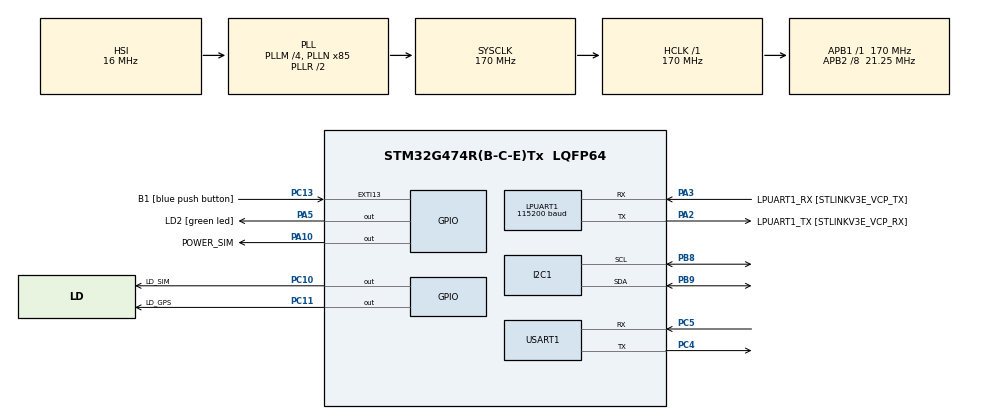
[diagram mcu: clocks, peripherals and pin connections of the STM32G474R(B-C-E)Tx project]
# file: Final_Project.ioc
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FREERTOS.Mutexes01=MutexSerialComSIM808,Dynamic,NULL;MutexDataPacket,Dynamic,NULL;MutexNetworkStatus,Dynamic,NULL
FREERTOS.Tasks01=defaultTask,24,128,StartDefaultTask,Default,NULL,Dynamic,NULL,NULL;TaskLowPwrMode,40,2048,FuncLowPwrMode,Default,NULL,Dynamic,NULL,NULL;TaskNwConnect,26,2048,FuncNwConnect,Default,NULL,Dynamic,NULL,NULL;TaskSensorData,24,4096,FuncSensorData,Default,NULL,Dynamic,NULL,NULL;TaskNwSendData,24,4096,FuncNwSendData,Default,NULL,Dynamic,NULL,NULL
FREERTOS.Timers01=SensorDataTimer,CallbackTimer,osTimerPeriodic,Default,NULL,Dynamic,NULL
FREERTOS.configENABLE_FPU=1
FREERTOS.configTOTAL_HEAP_SIZE=65536
FREERTOS.configUSE_NEWLIB_REENTRANT=1
I2C1.Timing=0x30A0A7FB
LPUART1.BaudRate=115200
LPUART1.WordLength=UART_WORDLENGTH_8B
Mcu.Family=STM32G4
Mcu.Name=STM32G474R(B-C-E)Tx
Mcu.Package=LQFP64
NVIC.EXTI15_10_IRQn=true\:5\:0\:false\:false\:true\:true\:true\:true
NVIC.PriorityGroup=NVIC_PRIORITYGROUP_4
NVIC.TIM6_DAC_IRQn=true\:15\:0\:false\:false\:true\:false\:false\:true
NVIC.TimeBase=TIM6_DAC_IRQn
NVIC.TimeBaseIP=TIM6
NVIC.USART1_IRQn=true\:5\:0\:false\:false\:true\:true\:true\:true
PA10.GPIO_Label=POWER_SIM
PA10.Signal=GPIO_Output
PA13.GPIO_Label=T_SWDIO
PA13.Mode=Serial_Wire
PA13.Signal=SYS_JTMS-SWDIO
PA14.GPIO_Label=T_SWCLK
PA14.Mode=Serial_Wire
PA14.Signal=SYS_JTCK-SWCLK
PA2.GPIO_Label=LPUART1_TX [STLINKV3E_VCP_RX]
PA2.Mode=Asynchronous
PA2.Signal=LPUART1_TX
PA3.GPIO_Label=LPUART1_RX [STLINKV3E_VCP_TX]
PA3.Mode=Asynchronous
PA3.Signal=LPUART1_RX
PA5.GPIO_Label=LD2 [green led]
PA5.Signal=GPIO_Output
PB3.GPIO_Label=T_SWO
PB3.Signal=SYS_JTDO-SWO
PB8-BOOT0.Mode=I2C
PB8-BOOT0.Signal=I2C1_SCL
PB9.Mode=I2C
PB9.Signal=I2C1_SDA
PC10.GPIO_Label=LD_SIM
PC10.Signal=GPIO_Output
PC11.GPIO_Label=LD_GPS
PC11.Signal=GPIO_Output
PC13.GPIO_Label=B1 [blue push button]
PC13.Signal=GPXTI13
PC14-OSC32_IN.Mode=LSE-External-Oscillator
PC14-OSC32_IN.Signal=RCC_OSC32_IN
PC15-OSC32_OUT.Mode=LSE-External-Oscillator
PC15-OSC32_OUT.Signal=RCC_OSC32_OUT
PC4.Mode=Asynchronous
PC4.Signal=USART1_TX
PC5.Mode=Asynchronous
PC5.Signal=USART1_RX
PF0-OSC_IN.Mode=HSE-External-Oscillator
PF0-OSC_IN.Signal=RCC_OSC_IN
PF1-OSC_OUT.Mode=HSE-External-Oscillator
PF1-OSC_OUT.Signal=RCC_OSC_OUT
ProjectManager.HeapSize=0x200
ProjectManager.StackSize=0x400
ProjectManager.TargetToolchain=STM32CubeIDE
RCC.ADC12Freq_Value=170000000
RCC.ADC345Freq_Value=170000000
RCC.AHBFreq_Value=170000000
RCC.APB1Freq_Value=170000000
RCC.APB1TimFreq_Value=170000000
RCC.APB2CLKDivider=RCC_HCLK_DIV8
RCC.APB2Freq_Value=21250000
RCC.APB2TimFreq_Value=42500000
RCC.CortexFreq_Value=170000000
RCC.EXTERNAL_CLOCK_VALUE=12288000
RCC.HCLKFreq_Value=170000000
RCC.HSE_VALUE=24000000
RCC.HSI48_VALUE=48000000
RCC.HSI_VALUE=16000000
RCC.PLLM=RCC_PLLM_DIV4
RCC.PLLN=85
RCC.RTCClockSelection=RCC_RTCCLKSOURCE_LSE
RCC.SYSCLKFreq_VALUE=170000000
RCC.SYSCLKSource=RCC_SYSCLKSOURCE_PLLCLK
RCC.USBFreq_Value=170000000
RCC.VCOOutputFreq_Value=340000000
USART1.VirtualMode-Asynchronous=VM_ASYNC
VP_FREERTOS_VS_CMSIS_V2.Mode=CMSIS_V2
VP_SYS_VS_DBSignals.Mode=DisableDeadBatterySignals
VP_SYS_VS_tim6.Mode=TIM6
board=NUCLEO-G474RE

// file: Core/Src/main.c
/* USER CODE BEGIN Header */
/**
  ******************************************************************************
  * @file           : main.c
  * @brief          : Main program body
  ******************************************************************************
  * @attention
  *
  * <h2><center>&copy; Copyright (c) 2021 STMicroelectronics.
  * All rights reserved.</center></h2>
  *
  * This software component is licensed by ST under BSD 3-Clause license,
  * the "License"; You may not use this file except in compliance with the
  * License. You may obtain a copy of the License at:
  *                        opensource.org/licenses/BSD-3-Clause
  *
  ******************************************************************************
  */
/* USER CODE END Header */
#include "main.h"
#include "cmsis_os.h"
#include "i2c.h"
#include "usart.h"
#include "gpio.h"

void SystemClock_Config(void);
void MX_FREERTOS_Init(void);

/* USER CODE BEGIN 0 */
int _write(int file, char *ptr, int len)
{
	if (HAL_UART_Transmit_IT(&hlpuart1, (uint8_t *)ptr, len) != HAL_OK )
	{
		Error_Handler();
	}
	return len;
}
/* USER CODE END 0 */

int main(void)
{

  /* MCU Configuration--------------------------------------------------------*/

  /* Reset of all peripherals, Initializes the Flash interface and the Systick. */
  HAL_Init();

  /* Configure the system clock */
  SystemClock_Config();

  /* Initialize all configured peripherals */
  MX_GPIO_Init();
  MX_LPUART1_UART_Init();
  MX_I2C1_Init();
  MX_USART1_UART_Init();
  /* USER CODE BEGIN 2 */
  //HAL_TIM_Base_Start_IT( &htim16 );
  /* USER CODE END 2 */

  /* Init scheduler */
  osKernelInitialize();  /* Call init function for freertos objects (in freertos.c) */
  MX_FREERTOS_Init();
  /* Start scheduler */
  osKernelStart();

  /* We should never get here as control is now taken by the scheduler */
  /* Infinite loop */
  while (1)
  {

  }
}

void SystemClock_Config(void)
{
  RCC_OscInitTypeDef RCC_OscInitStruct = {0};
  RCC_ClkInitTypeDef RCC_ClkInitStruct = {0};
  RCC_PeriphCLKInitTypeDef PeriphClkInit = {0};

  /** Configure the main internal regulator output voltage
  */
  HAL_PWREx_ControlVoltageScaling(PWR_REGULATOR_VOLTAGE_SCALE1_BOOST);
  /** Initializes the RCC Oscillators according to the specified parameters
  * in the RCC_OscInitTypeDef structure.
  */
  RCC_OscInitStruct.OscillatorType = RCC_OSCILLATORTYPE_HSI;
  RCC_OscInitStruct.HSIState = RCC_HSI_ON;
  RCC_OscInitStruct.HSICalibrationValue = RCC_HSICALIBRATION_DEFAULT;
  RCC_OscInitStruct.PLL.PLLState = RCC_PLL_ON;
  RCC_OscInitStruct.PLL.PLLSource = RCC_PLLSOURCE_HSI;
  RCC_OscInitStruct.PLL.PLLM = RCC_PLLM_DIV4;
  RCC_OscInitStruct.PLL.PLLN = 85;
  RCC_OscInitStruct.PLL.PLLP = RCC_PLLP_DIV2;
  RCC_OscInitStruct.PLL.PLLQ = RCC_PLLQ_DIV2;
  RCC_OscInitStruct.PLL.PLLR = RCC_PLLR_DIV2;
  if (HAL_RCC_OscConfig(&RCC_OscInitStruct) != HAL_OK)
  {
    Error_Handler();
  }
  /** Initializes the CPU, AHB and APB buses clocks
  */
  RCC_ClkInitStruct.ClockType = RCC_CLOCKTYPE_HCLK|RCC_CLOCKTYPE_SYSCLK
                              |RCC_CLOCKTYPE_PCLK1|RCC_CLOCKTYPE_PCLK2;
  RCC_ClkInitStruct.SYSCLKSource = RCC_SYSCLKSOURCE_PLLCLK;
  RCC_ClkInitStruct.AHBCLKDivider = RCC_SYSCLK_DIV1;
  RCC_ClkInitStruct.APB1CLKDivider = RCC_HCLK_DIV1;
  RCC_ClkInitStruct.APB2CLKDivider = RCC_HCLK_DIV8;

  if (HAL_RCC_ClockConfig(&RCC_ClkInitStruct, FLASH_LATENCY_4) != HAL_OK)
  {
    Error_Handler();
  }
  /** Initializes the peripherals clocks
  */
  PeriphClkInit.PeriphClockSelection = RCC_PERIPHCLK_USART1|RCC_PERIPHCLK_LPUART1
                              |RCC_PERIPHCLK_I2C1;
  PeriphClkInit.Usart1ClockSelection = RCC_USART1CLKSOURCE_PCLK2;
  PeriphClkInit.Lpuart1ClockSelection = RCC_LPUART1CLKSOURCE_PCLK1;
  PeriphClkInit.I2c1ClockSelection = RCC_I2C1CLKSOURCE_PCLK1;
  if (HAL_RCCEx_PeriphCLKConfig(&PeriphClkInit) != HAL_OK)
  {
    Error_Handler();
  }
}

void HAL_TIM_PeriodElapsedCallback(TIM_HandleTypeDef *htim)
{
  if (htim->Instance == TIM6) {
    HAL_IncTick();
  }
}

void Error_Handler(void)
{
  __disable_irq();
  while (1)
  {
  }
}

/************************ (C) COPYRIGHT STMicroelectronics *****END OF FILE****/

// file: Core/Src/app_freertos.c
/* USER CODE BEGIN Header */
/**
  ******************************************************************************
  * File Name          : app_freertos.c
  * Description        : Code for freertos applications
  ******************************************************************************
  * @attention
  *
  * <h2><center>&copy; Copyright (c) 2021 STMicroelectronics.
  * All rights reserved.</center></h2>
  *
  * This software component is licensed by ST under Ultimate Liberty license
  * SLA0044, the "License"; You may not use this file except in compliance with
  * the License. You may obtain a copy of the License at:
  *                             www.st.com/SLA0044
  *
  ******************************************************************************
  */
/* USER CODE END Header */

#include "FreeRTOS.h"
#include "task.h"
#include "main.h"
#include "cmsis_os.h"

/* USER CODE BEGIN Includes */
#include <stdio.h>
#include <string.h>

#include "usart.h"
#include "i2c.h"

#include "global.h"
#include "sim808.h"
#include "mpu6050.h"
/* USER CODE END Includes */

/* USER CODE BEGIN Variables */

/* Global variables */
/*
 * uiGVLowPowerFlag = 1 -> Low-power OFF
 * uiGVLowPowerFlag = 2 -> Low-power ON
 */
uint8_t uiGVLowPowerFlag = 2;
uint8_t uiGVNetworkStatus = 0;
struct sensorData xGVDataPacket;

/* USER CODE END Variables */
/* Definitions for defaultTask */
osThreadId_t defaultTaskHandle;
const osThreadAttr_t defaultTask_attributes = {
  .name = "defaultTask",
  .priority = (osPriority_t) osPriorityNormal,
  .stack_size = 128 * 4
};
/* Definitions for TaskLowPwrMode */
osThreadId_t TaskLowPwrModeHandle;
const osThreadAttr_t TaskLowPwrMode_attributes = {
  .name = "TaskLowPwrMode",
  .priority = (osPriority_t) osPriorityHigh,
  .stack_size = 2048 * 4
};
/* Definitions for TaskNwConnect */
osThreadId_t TaskNwConnectHandle;
const osThreadAttr_t TaskNwConnect_attributes = {
  .name = "TaskNwConnect",
  .priority = (osPriority_t) osPriorityNormal2,
  .stack_size = 2048 * 4
};
/* Definitions for TaskSensorData */
osThreadId_t TaskSensorDataHandle;
const osThreadAttr_t TaskSensorData_attributes = {
  .name = "TaskSensorData",
  .priority = (osPriority_t) osPriorityNormal,
  .stack_size = 4096 * 4
};
/* Definitions for TaskNwSendData */
osThreadId_t TaskNwSendDataHandle;
const osThreadAttr_t TaskNwSendData_attributes = {
  .name = "TaskNwSendData",
  .priority = (osPriority_t) osPriorityNormal,
  .stack_size = 4096 * 4
};
/* Definitions for SensorDataTimer */
osTimerId_t SensorDataTimerHandle;
const osTimerAttr_t SensorDataTimer_attributes = {
  .name = "SensorDataTimer"
};
/* Definitions for MutexSerialComSIM808 */
osMutexId_t MutexSerialComSIM808Handle;
const osMutexAttr_t MutexSerialComSIM808_attributes = {
  .name = "MutexSerialComSIM808"
};
/* Definitions for MutexDataPacket */
osMutexId_t MutexDataPacketHandle;
const osMutexAttr_t MutexDataPacket_attributes = {
  .name = "MutexDataPacket"
};
/* Definitions for MutexNetworkStatus */
osMutexId_t MutexNetworkStatusHandle;
const osMutexAttr_t MutexNetworkStatus_attributes = {
  .name = "MutexNetworkStatus"
};

/* USER CODE BEGIN FunctionPrototypes */

/*
 * Method name: 		LowPowerModeMcu
 * Method description: 	Set MCU to sleep mode
 * Input params: 		n/a
 * Output params: 		n/a
*/
void LowPowerModeMcu( void );

/* USER CODE END FunctionPrototypes */

void StartDefaultTask(void *argument);
void FuncLowPwrMode(void *argument);
void FuncNwConnect(void *argument);
void FuncSensorData(void *argument);
void FuncNwSendData(void *argument);
void CallbackTimer(void *argument);

void MX_FREERTOS_Init(void); /* (MISRA C 2004 rule 8.1) */

void MX_FREERTOS_Init(void) {
  /* Create the mutex(es) */
  /* creation of MutexSerialComSIM808 */
  MutexSerialComSIM808Handle = osMutexNew(&MutexSerialComSIM808_attributes);

  /* creation of MutexDataPacket */
  MutexDataPacketHandle = osMutexNew(&MutexDataPacket_attributes);

  /* creation of MutexNetworkStatus */
  MutexNetworkStatusHandle = osMutexNew(&MutexNetworkStatus_attributes);

  /* Create the timer(s) */
  /* creation of SensorDataTimer */
  SensorDataTimerHandle = osTimerNew(CallbackTimer, osTimerPeriodic, NULL, &SensorDataTimer_attributes);

  /* Create the thread(s) */
  /* creation of defaultTask */
  defaultTaskHandle = osThreadNew(StartDefaultTask, NULL, &defaultTask_attributes);

  /* creation of TaskLowPwrMode */
  TaskLowPwrModeHandle = osThreadNew(FuncLowPwrMode, NULL, &TaskLowPwrMode_attributes);

  /* creation of TaskNwConnect */
  TaskNwConnectHandle = osThreadNew(FuncNwConnect, NULL, &TaskNwConnect_attributes);

  /* creation of TaskSensorData */
  TaskSensorDataHandle = osThreadNew(FuncSensorData, NULL, &TaskSensorData_attributes);

  /* creation of TaskNwSendData */
  TaskNwSendDataHandle = osThreadNew(FuncNwSendData, NULL, &TaskNwSendData_attributes);

}

void StartDefaultTask(void *argument)
{
  /* USER CODE BEGIN StartDefaultTask */
  /* Infinite loop */
  for(;;)
  {
	  osDelay(10000);
  }
  /* USER CODE END StartDefaultTask */
}

void FuncLowPwrMode(void *argument)
{
  /* USER CODE BEGIN FuncLowPwrMode */
  PowerOnSimRadio();
  /* Infinite loop */
  for(;;)
  {
	  /* Blink LEDs to show that the system is on low-power mode */
	  if ( uiGVLowPowerFlag == 2 )
	  {
		  HAL_GPIO_TogglePin(LD_GPS_GPIO_Port, LD_GPS_Pin);
		  HAL_GPIO_TogglePin(LD_SIM_GPIO_Port, LD_SIM_Pin);
	  }

	  /* Wait until either thread flag 0 or 1 is set (500ms timeout) */
	  osThreadFlagsWait( 0x00000003, osFlagsWaitAny | osFlagsNoClear, 500 );
	  uint32_t uiFlags = osThreadFlagsGet();
	  if ( uiFlags == 0x00000001 )
	  {
		  /* Turn OFF low-power mode */
		  osMutexAcquire( MutexSerialComSIM808Handle, osWaitForever );
		  InitSimRadio();
		  InitImu();
		  osMutexRelease( MutexSerialComSIM808Handle );

		  uiGVLowPowerFlag = 1;
	  }
	  else if ( uiFlags == 0x00000002 )
	  {
		  /* Turn ON low-power mode */
		  osMutexAcquire( MutexSerialComSIM808Handle, osWaitForever );
		  LowPowerModeSimRadio();
		  LowPowerModeImu();
		  LowPowerModeMcu();
		  osMutexRelease( MutexSerialComSIM808Handle );

		  uiGVLowPowerFlag = 2;
	  }
	  uiFlags = osThreadFlagsClear( uiFlags );

	  osDelay(10);
  }
  /* USER CODE END FuncLowPwrMode */
}

void FuncNwConnect(void *argument)
{
  /* USER CODE BEGIN FuncNwConnect */
  /* Infinite loop */
  for(;;)
  {
	  if ( uiGVLowPowerFlag == 1 )
	  {
		  if ( uiGVNetworkStatus == 0 )
		  {
			  osMutexAcquire( MutexSerialComSIM808Handle, osWaitForever );
			  int iRet = JoinSimRadioNetwork();
			  if ( iRet == 0 )
			  {
				  /* Successfully joined network */
				  osMutexAcquire( MutexNetworkStatusHandle, osWaitForever );
				  uiGVNetworkStatus = 1;
				  HAL_GPIO_WritePin( LD_SIM_GPIO_Port, LD_SIM_Pin, GPIO_PIN_SET );
				  osMutexRelease( MutexNetworkStatusHandle );
			  }
			  else
			  {
				  /* Couldn't join network */
				  HAL_GPIO_WritePin( LD_SIM_GPIO_Port, LD_SIM_Pin, GPIO_PIN_RESET );
			  }
			  osMutexRelease( MutexSerialComSIM808Handle );
		  }
		  osDelay(10000);
	  }
	  osDelay(10);
  }
  /* USER CODE END FuncNwConnect */
}

void FuncSensorData(void *argument)
{
  /* USER CODE BEGIN FuncSensorData */
  osTimerStart( SensorDataTimerHandle, 10000U );
  /* Infinite loop */
  for(;;)
  {
	  if ( uiGVLowPowerFlag == 1 )
	  {
		  /* 10 seconds timer will set this flag */
		  osThreadFlagsWait( 0x00000001, osFlagsWaitAny, osWaitForever );

		  /* Changing xGVDataPacket variable */
		  osMutexAcquire( MutexDataPacketHandle, osWaitForever );

		  memset( &xGVDataPacket, 0, sizeof(xGVDataPacket) );

		  osMutexAcquire( MutexSerialComSIM808Handle, osWaitForever );
		  GetGpsData( &xGVDataPacket );
		  osMutexRelease( MutexSerialComSIM808Handle );

		  if ( xGVDataPacket.gpsStatus == 'V' )
		  {
			  /* GPS data is not valid */
			  HAL_GPIO_WritePin(LD_GPS_GPIO_Port, LD_GPS_Pin, GPIO_PIN_RESET);
		  }
		  else
		  {
			  /* GPS data is valid */
			  HAL_GPIO_WritePin(LD_GPS_GPIO_Port, LD_GPS_Pin, GPIO_PIN_SET);
		  }

		  GetImuData( &xGVDataPacket );

		  /* Done with the xGVDataPacket variable */
		  osMutexRelease( MutexDataPacketHandle );

		  /* Tells TaskNwSendData that there is new data to be sent */
		  osThreadFlagsSet( TaskNwSendDataHandle, 0x00000001 );
	  }
	  osDelay(10);
  }
  /* USER CODE END FuncSensorData */
}

void FuncNwSendData(void *argument)
{
  /* USER CODE BEGIN FuncNwSendData */
  /* Infinite loop */
  for(;;)
  {
	  if ( uiGVLowPowerFlag == 1 )
	  {
		  if ( uiGVNetworkStatus == 1 )
		  {
			  osThreadFlagsWait( 0x00000001, osFlagsWaitAny, osWaitForever );
			  osMutexAcquire( MutexDataPacketHandle, osWaitForever );
			  osMutexAcquire( MutexSerialComSIM808Handle, osWaitForever );

			  int iRet = SendNetworkData( &xGVDataPacket );
			  if ( iRet == -2 )
			  {
				  /* No connection*/
				  osMutexAcquire( MutexNetworkStatusHandle, osWaitForever );
				  uiGVNetworkStatus = 0;
				  osMutexRelease( MutexNetworkStatusHandle );
			  }

			  osMutexRelease( MutexSerialComSIM808Handle );
			  osMutexRelease( MutexDataPacketHandle );
		  }
	  }
	  osDelay(10);
  }
  /* USER CODE END FuncNwSendData */
}

/* CallbackTimer function */
void CallbackTimer(void *argument)
{
  /* USER CODE BEGIN CallbackTimer */
  osThreadFlagsSet( TaskSensorDataHandle, 0x00000001 );
  /* USER CODE END CallbackTimer */
}

/* USER CODE BEGIN Application */
void HAL_GPIO_EXTI_Callback(uint16_t GPIO_Pin)
{
	if ( GPIO_Pin == B1_Pin )
	{
		/* Turn off system LEDs */
		HAL_GPIO_WritePin(LD_SIM_GPIO_Port, LD_SIM_Pin, GPIO_PIN_RESET);
		HAL_GPIO_WritePin(LD_GPS_GPIO_Port, LD_GPS_Pin, GPIO_PIN_RESET);

		if ( uiGVLowPowerFlag == 1 )
		{
			/* Low-power ON */
			osThreadFlagsSet( TaskLowPwrModeHandle, 0x00000002 );
		}
		else if ( uiGVLowPowerFlag == 2 )
		{
			/* Low-power OFF */
			osThreadFlagsSet( TaskLowPwrModeHandle, 0x00000001 );
		}
	}
}

void LowPowerModeMcu( void )
{
	/*
	 * PWR_SLEEPENTRY_WFI (Wait For Interrupt)
	 * When B1 is pressed, an EXTI wakes the device up
	 */
	HAL_PWR_EnterSLEEPMode( PWR_MAINREGULATOR_ON, PWR_SLEEPENTRY_WFI );
}
/* USER CODE END Application */

/************************ (C) COPYRIGHT STMicroelectronics *****END OF FILE****/
